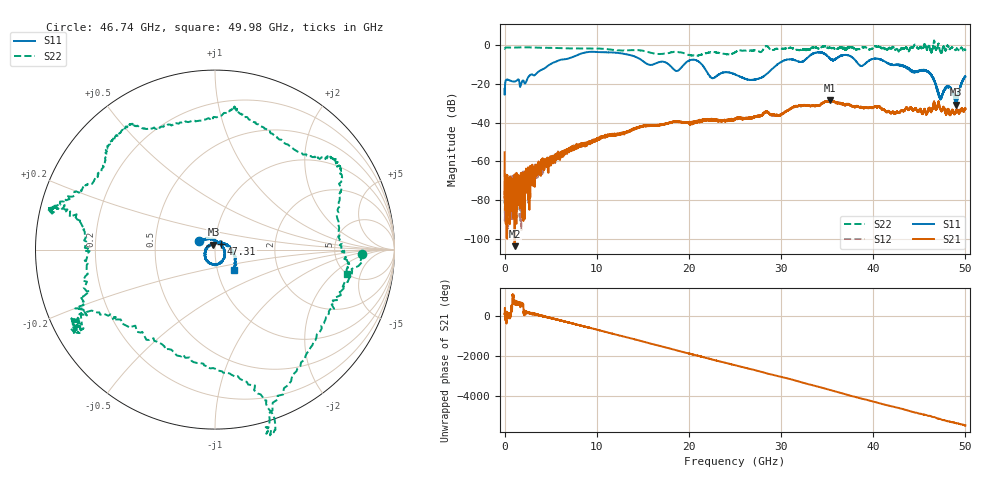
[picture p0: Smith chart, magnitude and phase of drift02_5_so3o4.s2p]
!Created with skrf (http://scikit-rf.org).
# Hz S RI R 50.0
!freq ReS11 ImS11 ReS21 ImS21 ReS12 ImS12 ReS22 ImS22
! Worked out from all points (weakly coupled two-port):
!   10001 points, 300 kHz to 50 GHz, reference 50 ohm
!   highest |S21| = -28.62 dB at 35.31 GHz (marker M1); lowest = -103.6 dB at 1.085 GHz (marker M2)
!   lowest |S11| = -30.9 dB at 49.02 GHz (marker M3), VSWR 1.06, Z = 49 + j2.67 ohm
!   |S11| at or under -10 dB: start of sweep to 4.957 GHz; 21.38 GHz to 29.63 GHz (8.256 GHz wide, 32.4 % of centre); 41.83 GHz to end of sweep (the widest 3 of 11)
!   |S22| runs from -5.7 to 2.2 dB; largest |S21 - S12| = 0.0035
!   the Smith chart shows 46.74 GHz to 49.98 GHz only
!   S11 on the Smith chart (normalised r, x): 46.74 GHz: 0.83, +0.08; 47.31 GHz: 1.07, +0.06; 49.98 GHz: 1.20, -0.27
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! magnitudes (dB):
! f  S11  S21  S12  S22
! 300 kHz  -22.7  -55.3  -64.6  -2.1
! 260.3 MHz  -17.9  -77.6  -87.6  -1.4
! 1.085 GHz  -18.9  -103.6  -74.8  -1.4
! 3.905 GHz  -13.1  -64.4  -60.9  -1.5
! 8.335 GHz  -4.5  -51.0  -50.9  -1.9
! 16.67 GHz  -9.1  -41.5  -41.4  -4.8
! 18.69 GHz  -13.5  -39.6  -39.5  -3.8
! 20.59 GHz  -7.7  -40.4  -40.1  -5.7
! 22.49 GHz  -17.1  -38.8  -38.8  -3.8
! 25 GHz  -15.3  -38.0  -38.2  -3.9
! 27.47 GHz  -17.6  -36.8  -36.6  -3.2
! 30.22 GHz  -8.3  -35.3  -35.2  -2.1
! 33.34 GHz  -5.0  -31.3  -31.3  -1.6
! 35.31 GHz  -7.1  -28.6  -28.8  -1.5
! 41.67 GHz  -9.7  -34.0  -34.5  -1.8
! 45.76 GHz  -13.4  -35.5  -35.7  -1.8
! 46.74 GHz  -19.9  -32.8  -32.4  -1.7
! 47.31 GHz  -27.0  -33.4  -33.2  -3.8
! 48.15 GHz  -21.6  -33.0  -33.4  -0.9
! 49.02 GHz  -30.9  -34.5  -33.8  -2.2
! 49.98 GHz  -16.3  -32.8  -33.0  -2.5
! 50 GHz  -16.4  -33.0  -32.7  -2.6
